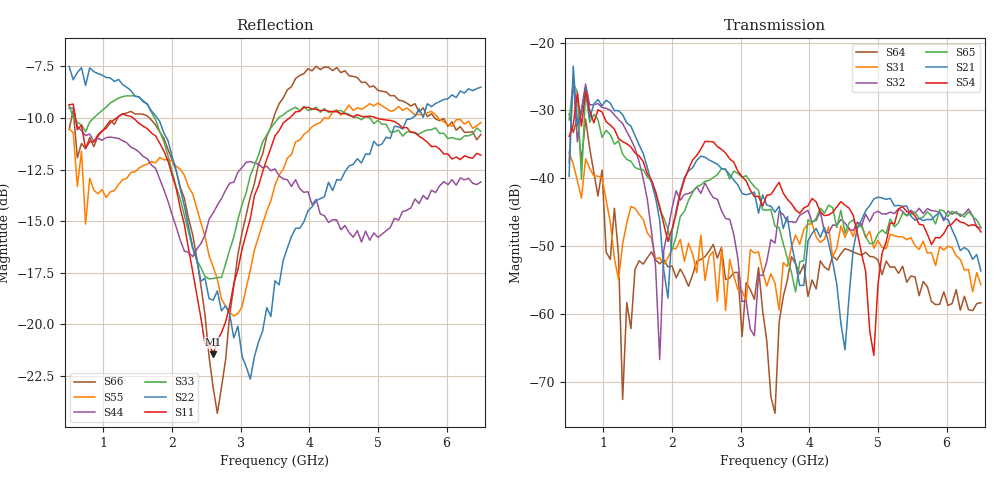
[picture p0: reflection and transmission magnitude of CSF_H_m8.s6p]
!Keysight Technologies,M9804A,MY58100912,A.14.10.03
!Date: Thursday, April 27, 2023 10:28:33
!Correction: S11(C  6-Port  )
!S12(C  6-Port  )
!S13(C  6-Port  )
!S14(C  6-Port  )
!S15(C  6-Port  )
!S16(C  6-Port  )
!S21(C  6-Port  )
!S22(C  6-Port  )
!S23(C  6-Port  )
!S24(C  6-Port  )
!S25(C  6-Port  )
!S26(C  6-Port  )
!S31(C  6-Port  )
!S32(C  6-Port  )
!S33(C  6-Port  )
!S34(C  6-Port  )
!S35(C  6-Port  )
!S36(C  6-Port  )
!S41(C  6-Port  )
!S42(C  6-Port  )
!S43(C  6-Port  )
!S44(C  6-Port  )
!S45(C  6-Port  )
!S46(C  6-Port  )
!S51(C  6-Port  )
!S52(C  6-Port  )
!S53(C  6-Port  )
!S54(C  6-Port  )
!S55(C  6-Port  )
!S56(C  6-Port  )
!S61(C  6-Port  )
!S62(C  6-Port  )
!S63(C  6-Port  )
!S64(C  6-Port  )
!S65(C  6-Port  )
!S66(C  6-Port  )
!S6P File: Measurement: :
# Hz S  RI  R 50
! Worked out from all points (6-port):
!   101 points, 500 MHz to 6.5 GHz, reference 50 ohm
!   strongest paths, dB at 500 MHz, 2 GHz, 3.5 GHz, 5 GHz, 6.5 GHz:
!     S54: -33.8, -47.5, -41.5, -55.7, -47.9
!     S21: -39.7, -47.9, -45.0, -42.8, -53.7
!     S65: -31.4, -50.6, -47.1, -48.2, -47.2
!     S32: -37.7, -44.4, -49.6, -44.9, -47.3
!     S31: -36.2, -50.4, -55.5, -49.2, -55.7
!     S64: -30.5, -52.9, -74.6, -52.0, -58.3
!   lowest |S11| = -21.5 dB at 2.6 GHz (marker M1), VSWR 1.18, Z = 42.5 + j2.16 ohm
!   |S11| at or under -10 dB: 592.5 MHz to 1.193 GHz (600.1 MHz wide, 67.2 % of centre); 1.429 GHz to 3.711 GHz (2.282 GHz wide, 88.8 % of centre); 4.975 GHz to end of sweep
